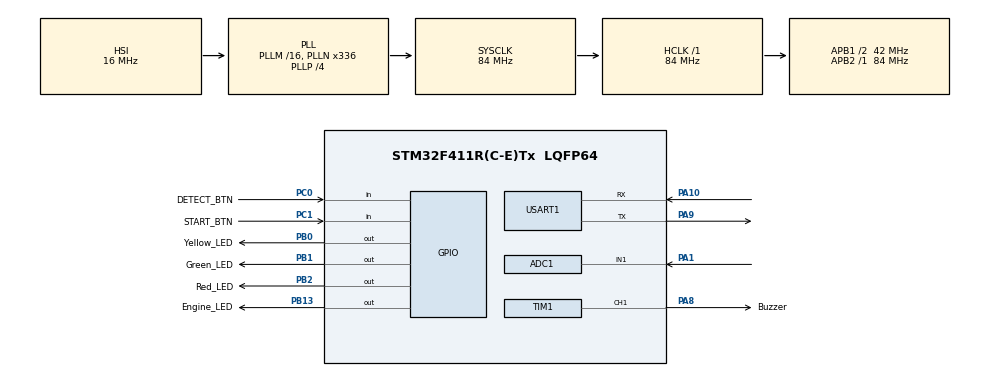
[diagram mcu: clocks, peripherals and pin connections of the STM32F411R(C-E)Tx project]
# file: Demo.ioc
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ADC1.Channel-2\#ChannelRegularConversion=ADC_CHANNEL_1
ADC1.ContinuousConvMode=ENABLE
ADC1.NbrOfConversionFlag=1
ADC1.Rank-2\#ChannelRegularConversion=1
ADC1.SamplingTime-2\#ChannelRegularConversion=ADC_SAMPLETIME_480CYCLES
ADC1.master=1
Mcu.Family=STM32F4
Mcu.Name=STM32F411R(C-E)Tx
Mcu.Package=LQFP64
NVIC.ADC_IRQn=true\:0\:0\:false\:false\:true\:true\:true\:true
NVIC.PVD_IRQn=true\:0\:0\:false\:false\:true\:true\:true\:true
NVIC.PriorityGroup=NVIC_PRIORITYGROUP_4
NVIC.TIM2_IRQn=true\:0\:0\:false\:false\:true\:true\:true\:true
NVIC.USART1_IRQn=true\:0\:0\:false\:true\:true\:1\:true\:true\:true
PA1.Signal=ADCx_IN1
PA10.Mode=Asynchronous
PA10.Signal=USART1_RX
PA13.Mode=Serial_Wire
PA13.Signal=SYS_JTMS-SWDIO
PA14.Mode=Serial_Wire
PA14.Signal=SYS_JTCK-SWCLK
PA8.GPIO_Label=Buzzer
PA8.Signal=S_TIM1_CH1
PA9.Mode=Asynchronous
PA9.Signal=USART1_TX
PB0.GPIO_Label=Yellow_LED
PB0.Signal=GPIO_Output
PB1.GPIO_Label=Green_LED
PB1.Signal=GPIO_Output
PB13.GPIO_Label=Engine_LED
PB13.Signal=GPIO_Output
PB2.GPIO_Label=Red_LED
PB2.Signal=GPIO_Output
PC0.GPIO_Label=DETECT_BTN
PC0.GPIO_PuPd=GPIO_PULLUP
PC0.Signal=GPIO_Input
PC1.GPIO_Label=START_BTN
PC1.GPIO_PuPd=GPIO_PULLUP
PC1.Signal=GPIO_Input
PH0\ -\ OSC_IN.Mode=HSE-External-Oscillator
PH0\ -\ OSC_IN.Signal=RCC_OSC_IN
PH1\ -\ OSC_OUT.Mode=HSE-External-Oscillator
PH1\ -\ OSC_OUT.Signal=RCC_OSC_OUT
ProjectManager.HeapSize=0x200
ProjectManager.StackSize=0x400
ProjectManager.TargetToolchain=STM32CubeIDE
RCC.48MHZClocksFreq_Value=84000000
RCC.AHBFreq_Value=84000000
RCC.APB1CLKDivider=RCC_HCLK_DIV2
RCC.APB1Freq_Value=42000000
RCC.APB1TimFreq_Value=84000000
RCC.APB2Freq_Value=84000000
RCC.APB2TimFreq_Value=84000000
RCC.CortexFreq_Value=84000000
RCC.HCLKFreq_Value=84000000
RCC.HSE_VALUE=25000000
RCC.HSI_VALUE=16000000
RCC.LSE_VALUE=32768
RCC.PLLN=336
RCC.PLLP=RCC_PLLP_DIV4
RCC.SYSCLKFreq_VALUE=84000000
RCC.SYSCLKSource=RCC_SYSCLKSOURCE_PLLCLK
RCC.VCOOutputFreq_Value=336000000
SH.ADCx_IN1.0=ADC1_IN1,IN1
SH.S_TIM1_CH1.0=TIM1_CH1,PWM Generation1 CH1
TIM1.AutomaticOutput=TIM_AUTOMATICOUTPUT_ENABLE
TIM1.Channel-PWM\ Generation1\ CH1=TIM_CHANNEL_1
TIM1.Period=499
TIM1.Prescaler=83
TIM1.Pulse-PWM\ Generation1\ CH1=250
TIM2.AutoReloadPreload=TIM_AUTORELOAD_PRELOAD_DISABLE
TIM2.Period=9
TIM2.Prescaler=8399
USART1.VirtualMode=VM_ASYNC
VP_TIM1_VS_ClockSourceINT.Mode=Internal
VP_TIM2_VS_ClockSourceINT.Mode=Internal
board=custom

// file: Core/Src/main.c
/* USER CODE BEGIN Header */
/**
  ******************************************************************************
  * @file           : main.c
  * @brief          : Main program body
  ******************************************************************************
  * @attention
  *
  * Copyright (c) 2026 STMicroelectronics.
  * All rights reserved.
  *
  * This software is licensed under terms that can be found in the LICENSE file
  * in the root directory of this software component.
  * If no LICENSE file comes with this software, it is provided AS-IS.
  *
  ******************************************************************************
  */
/* USER CODE END Header */
#include "main.h"
#include "adc.h"
#include "tim.h"
#include "usart.h"
#include "gpio.h"

/* USER CODE BEGIN Includes */
#include <stdio.h>
#include <string.h>
/* USER CODE END Includes */

/* USER CODE BEGIN PV */
// 모드 전환
#define UART_ENABLED        0      // 0=데모, 1=실제 UART

// 임계값 / 타이밍
#define DELTA_THRESHOLD     200    // 음주 판정 차이값 (첫 측정 대비)
#define MQ3_SAMPLE_COUNT    5      // 측정 횟수
#define MQ3_SAMPLE_INTERVAL 1000   // 측정 간격 (ms)
#define MAX_RETRY           3      // 최대 재측정 횟수
#define DEMO_RESPONSE_TIME  2000   // 데모 모드 응답 시뮬 시간 (ms)
#define RESULT_DISPLAY_TIME 3000   // 결과 표시 시간 (ms)
#define PRESSURE_LOST_TIMEOUT 10000  // 압력 해제 타임아웃 (30초 : 테스트 10초)
#define FAIL_BLINK_TIME     5000  // FAIL 시 Engine LED 깜빡 시간 (10초)

// 상태 머신
typedef enum {
    STATE_IDLE,           // 대기
    STATE_WAIT_SEAT,          // 시동 ON, RPi 준비 대기
    STATE_WAIT_BLOW,    // 운전자 감지 버튼 대기
    STATE_MEASURING,      // MQ-3 측정 중
    STATE_WAIT_RESULT,    // RPi 판정 대기
    STATE_PASS,           // 통과
    STATE_FAIL      // 음주 차단
} DMS_State_t;

DMS_State_t current_state = STATE_IDLE;
uint32_t state_enter_time = 0;
uint32_t mq3_value = 0;             // 최종 판정용 값 (최대 delta)
uint32_t mq3_baseline = 0;          // 첫 측정값 (기준)
uint8_t retry_count = 0;            // 재측정 카운터
uint8_t start_btn_prev = 1;
uint8_t detect_btn_prev = 1;

// 측정 중 압력 감시용
uint8_t is_drunk_detected = 0;      // 측정 중 음주 감지 플래그
uint32_t pressure_lost_start = 0;   // PASS 상태에서 압력 해제 시각 추적
/* USER CODE END PV */

void SystemClock_Config(void);
static void MX_NVIC_Init(void);

/* USER CODE BEGIN 0 */
/* USER CODE BEGIN 0 */

// Green LED ON
void Green_LED_On(void)
{
    HAL_GPIO_WritePin(Green_LED_GPIO_Port,
                      Green_LED_Pin,
                      GPIO_PIN_SET);
}

// Yellow LED ON
void Yellow_LED_On(void)
{
    HAL_GPIO_WritePin(Yellow_LED_GPIO_Port,
                      Yellow_LED_Pin,
                      GPIO_PIN_SET);
}

// Red LED ON
void Red_LED_On(void)
{
    HAL_GPIO_WritePin(Red_LED_GPIO_Port,
                      Red_LED_Pin,
                      GPIO_PIN_SET);
}

// Engine ON
void Engine_ON(void)
{
    HAL_GPIO_WritePin(Engine_LED_GPIO_Port,
                      Engine_LED_Pin,
                      GPIO_PIN_SET);
}

// Engine OFF
void Engine_OFF(void)
{
    HAL_GPIO_WritePin(Engine_LED_GPIO_Port,
                      Engine_LED_Pin,
                      GPIO_PIN_RESET);
}

// LED 제어
void LED_All_On(void) {
    Green_LED_On();
    Yellow_LED_On();
    Red_LED_On();
}

void LED_All_Off(void)
{
    Green_LED_Off();
    Yellow_LED_Off();
    Red_LED_Off();
}

// MQ-3 측정
uint32_t Read_MQ3(void) {
    HAL_ADC_Start(&hadc1);
    HAL_ADC_PollForConversion(&hadc1, 100);
    uint32_t value = HAL_ADC_GetValue(&hadc1);
    HAL_ADC_Stop(&hadc1);
    return value;
}

// 압력(버튼) 상태 읽기
// Pull-up이라 누르면 0, 떼면 1
// 압력 유지 = 0 반환
uint8_t Is_Pressure_Active(void) {
    return (HAL_GPIO_ReadPin(DETECT_BTN_GPIO_Port, DETECT_BTN_Pin) == 0);
}

// MQ-3 측정 (압력 감시 + delta 판정)
// 반환값:
//   0 = 정상 (모든 delta < 200)
//   1 = 음주 감지 (delta >= 200 한 번이라도)
//   2 = 측정 중 압력 해제 (30초 이상)
uint8_t Measure_MQ3_With_Pressure(void) {
    // 첫 측정 전에도 압력 확인
    if (!Is_Pressure_Active()) {
        return 2;
    }

    mq3_baseline = Read_MQ3();   // 첫 측정값 = 기준
    uint32_t max_delta = 0;
    uint8_t drunk_flag = 0;

    for (int i = 1; i < MQ3_SAMPLE_COUNT; i++) {
        // 1초 대기하면서 압력 감시
        uint32_t wait_start = HAL_GetTick();

        while (HAL_GetTick() - wait_start < MQ3_SAMPLE_INTERVAL) {
            // 압력 해제되면 즉시 중단!
            if (!Is_Pressure_Active()) {
                mq3_value = max_delta;   // 지금까지 값 저장
                return 2;
            }
            HAL_Delay(10);
        }

        // 압력 유지된 상태로 측정
        uint32_t v = Read_MQ3();
        int32_t delta = (int32_t)v - (int32_t)mq3_baseline;
        if (delta < 0) delta = -delta;

        if ((uint32_t)delta > max_delta) {
            max_delta = (uint32_t)delta;
        }

        if ((uint32_t)delta >= DELTA_THRESHOLD) {
            drunk_flag = 1;
        }
    }

    mq3_value = max_delta;
    return drunk_flag ? 1 : 0;
}

// 부저 패턴
void Buzzer_Alert(void) {
    for (int i = 0; i < 5; i++) {
        HAL_TIM_PWM_Start(&htim1, TIM_CHANNEL_1);
        HAL_Delay(200);
        HAL_TIM_PWM_Stop(&htim1, TIM_CHANNEL_1);
        HAL_Delay(100);
    }
}

// UART 송신
void UART_Send(const char* msg) {
#if UART_ENABLED
    char buffer[64];
    snprintf(buffer, sizeof(buffer), "%s\n", msg);
    HAL_UART_Transmit(&huart1, (uint8_t*)buffer, strlen(buffer), 100);
#else
    (void)msg;
#endif
}

// 상태 전환
void Change_State(DMS_State_t new_state) {
    current_state = new_state;
    state_enter_time = HAL_GetTick();
    LED_AllOff();
}

/* USER CODE END 0 */

int main(void)
{

  /* MCU Configuration--------------------------------------------------------*/

  /* Reset of all peripherals, Initializes the Flash interface and the Systick. */
  HAL_Init();

  /* Configure the system clock */
  SystemClock_Config();

  /* Initialize all configured peripherals */
  MX_GPIO_Init();
  MX_ADC1_Init();
  MX_USART1_UART_Init();
  MX_TIM2_Init();
  MX_TIM1_Init();

  /* Initialize interrupts */
  MX_NVIC_Init();
  /* USER CODE BEGIN 2 */

  // 시작: IDLE 상태, 엔진 OFF (시동 차단)
  Change_State(STATE_IDLE);
  Engine_OFF();

  /* USER CODE END 2 */

  /* Infinite loop */
  while (1)
  {

    /* USER CODE BEGIN 3 */
	    uint32_t now = HAL_GetTick();
	    uint32_t elapsed = now - state_enter_time;

	    // 버튼 입력 감지
	    uint8_t start_btn_now = HAL_GPIO_ReadPin(START_BTN_GPIO_Port, START_BTN_Pin);
	    uint8_t detect_btn_now = HAL_GPIO_ReadPin(DETECT_BTN_GPIO_Port, DETECT_BTN_Pin);

	    uint8_t start_btn_pressed = (start_btn_prev == 1 && start_btn_now == 0);
	    uint8_t detect_btn_pressed = (detect_btn_prev == 1 && detect_btn_now == 0);

	    start_btn_prev = start_btn_now;
	    detect_btn_prev = detect_btn_now;

	    switch (current_state)
	    {
	        case STATE_IDLE:
	            // 대기: 모든 LED OFF, 엔진 OFF
	            Engine_OFF();

	            if (start_btn_pressed) {
	                retry_count = 0;
	                UART_Send("REQ:START");
	                Change_State(STATE_WAIT_SEAT);
	            }
	            break;

	        case STATE_WAIT_SEAT:
	            Yellow_LED_On();

	            if (elapsed >= DEMO_RESPONSE_TIME) {
	                Change_State(STATE_WAIT_BLOW);
	            }
	            break;

	        case STATE_WAIT_BLOW:
	            // 운전자 감지 버튼 대기 (Yellow 깜빡)
	            if ((elapsed / 500) % 2 == 0) {
	                Yellow_LED_On();
	            } else {
	                Yellow_LED_Off();
	            }

	            if (detect_btn_pressed) {
	                UART_Send("DETECT:ON");
	                Change_State(STATE_MEASURING);
	            }
	            break;

	        case STATE_MEASURING:
	        {
	            // MQ-3 측정 (압력 감시 + delta 판정)
	            Yellow_LED_On();

	            uint8_t result = Measure_MQ3_With_Pressure();

	            // MQ3 값 전송 (디버그용)
	            char msg_buf[32];
	            snprintf(msg_buf, sizeof(msg_buf), "MQ3_DELTA:%lu", mq3_value);
	            UART_Send(msg_buf);

	            if (result == 2) {
	                // 측정 중 압력 해제 → IDLE 복귀 (완전 초기화!)
	                UART_Send("PRESSURE_LOST_IN_MEASURING");
	                retry_count = 0;                        // 재시도 카운터도 리셋
	                is_drunk_detected = 0;                  // 음주 플래그 리셋
	                Change_State(STATE_IDLE);               // IDLE 복귀
	            } else {
	                // 정상 측정 완료 → 결과 대기
	                is_drunk_detected = (result == 1) ? 1 : 0;
	                Change_State(STATE_WAIT_RESULT);
	            }
	            break;
	        }

	        case STATE_WAIT_RESULT:
	            // RPi 판정 대기
	            if ((elapsed / 300) % 2 == 0) {
	                All_LED_On();
	            } else {
	                All_LED_Off();
	            }

	            if (elapsed >= DEMO_RESPONSE_TIME) {
	                if (is_drunk_detected) {
	                    Change_State(STATE_FAIL);
	                } else {
	                    Change_State(STATE_PASS);
	                }
	            }
	            break;

	        case STATE_PASS:
	            // 통과: Engine LED ON 유지
	            Green_LED_On();
	            Engine_ON();

	            // 운전 중 압력 감시 (운전자 이탈 감지)
	            if (!Is_Pressure_Active()) {
	                // 압력 해제됨
	                if (pressure_lost_start == 0) {
	                    pressure_lost_start = HAL_GetTick();   // 시각 기록
	                }

	                // 30초 이상 압력 없음 → 재시도
	                if (HAL_GetTick() - pressure_lost_start >= PRESSURE_LOST_TIMEOUT) {
	                    UART_Send("PRESSURE_LOST");
	                    pressure_lost_start = 0;
	                    Change_State(STATE_WAIT_BLOW);   // 재시도
	                }
	            } else {
	                // 압력 다시 잡힘 → 카운터 리셋
	                pressure_lost_start = 0;
	            }

	            // 수동 종료 (시동 끄기)
	            if (start_btn_pressed) {
	                pressure_lost_start = 0;
	                Change_State(STATE_IDLE);
	            }
	            break;

	        case STATE_FAIL:
	            // 음주 차단
	            Red_LED_On();

	            // 부저 1회만 (진입 직후)
	            if (elapsed < 50) {
	                Buzzer_Alert();
	            }

	            // Engine LED 5초간 깜빡 (0.2초 간격)
	            if (elapsed < FAIL_BLINK_TIME) {
	                if ((elapsed / 200) % 2 == 0) {
	                    Engine_ON();
	                } else {
	                    Engine_OFF();
	                }
	            } else {
	                Engine_OFF();   // 5초 후 OFF 고정
	            }

	            // 10초 후 재시도 판단
	            if (elapsed >= FAIL_BLINK_TIME) {
	                retry_count++;

	                if (retry_count < MAX_RETRY) {
	                    Change_State(STATE_WAIT_BLOW);
	                } else {
	                    Change_State(STATE_IDLE);
	                }
	            }
	            break;
	    }

	    HAL_Delay(10);
  }
  /* USER CODE END 3 */
}

void SystemClock_Config(void)
{
  RCC_OscInitTypeDef RCC_OscInitStruct = {0};
  RCC_ClkInitTypeDef RCC_ClkInitStruct = {0};

  /** Configure the main internal regulator output voltage
  */
  __HAL_RCC_PWR_CLK_ENABLE();
  __HAL_PWR_VOLTAGESCALING_CONFIG(PWR_REGULATOR_VOLTAGE_SCALE1);

  /** Initializes the RCC Oscillators according to the specified parameters
  * in the RCC_OscInitTypeDef structure.
  */
  RCC_OscInitStruct.OscillatorType = RCC_OSCILLATORTYPE_HSI;
  RCC_OscInitStruct.HSIState = RCC_HSI_ON;
  RCC_OscInitStruct.HSICalibrationValue = RCC_HSICALIBRATION_DEFAULT;
  RCC_OscInitStruct.PLL.PLLState = RCC_PLL_ON;
  RCC_OscInitStruct.PLL.PLLSource = RCC_PLLSOURCE_HSI;
  RCC_OscInitStruct.PLL.PLLM = 16;
  RCC_OscInitStruct.PLL.PLLN = 336;
  RCC_OscInitStruct.PLL.PLLP = RCC_PLLP_DIV4;
  RCC_OscInitStruct.PLL.PLLQ = 4;
  if (HAL_RCC_OscConfig(&RCC_OscInitStruct) != HAL_OK)
  {
    Error_Handler();
  }

  /** Initializes the CPU, AHB and APB buses clocks
  */
  RCC_ClkInitStruct.ClockType = RCC_CLOCKTYPE_HCLK|RCC_CLOCKTYPE_SYSCLK
                              |RCC_CLOCKTYPE_PCLK1|RCC_CLOCKTYPE_PCLK2;
  RCC_ClkInitStruct.SYSCLKSource = RCC_SYSCLKSOURCE_PLLCLK;
  RCC_ClkInitStruct.AHBCLKDivider = RCC_SYSCLK_DIV1;
  RCC_ClkInitStruct.APB1CLKDivider = RCC_HCLK_DIV2;
  RCC_ClkInitStruct.APB2CLKDivider = RCC_HCLK_DIV1;

  if (HAL_RCC_ClockConfig(&RCC_ClkInitStruct, FLASH_LATENCY_2) != HAL_OK)
  {
    Error_Handler();
  }
}

/**
  * @brief NVIC Configuration.
  * @retval None
  */
static void MX_NVIC_Init(void)
{
  /* USART1_IRQn interrupt configuration */
  HAL_NVIC_SetPriority(USART1_IRQn, 0, 0);
  HAL_NVIC_EnableIRQ(USART1_IRQn);
}

void Error_Handler(void)
{
  __disable_irq();
  while (1)
  {
  }
}
